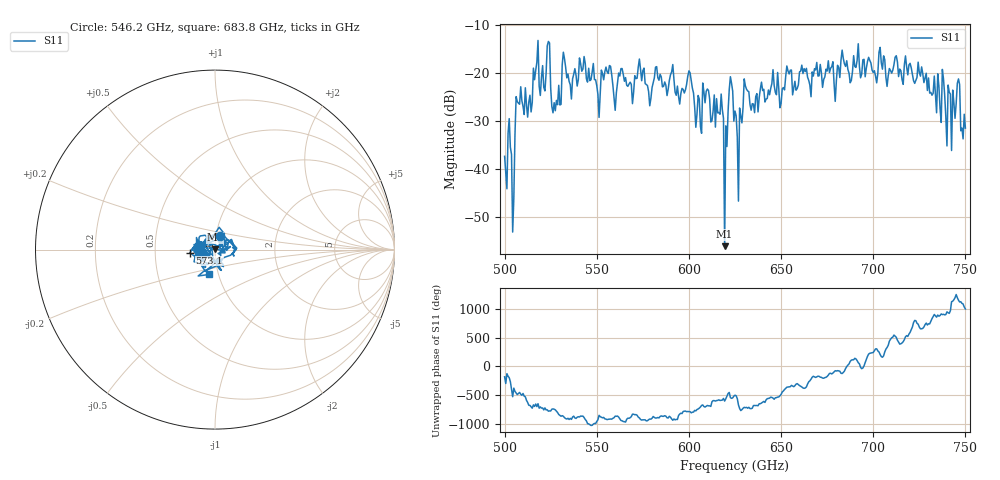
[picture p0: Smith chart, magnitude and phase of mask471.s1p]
!Created with skrf (http://scikit-rf.org).
# GHz S MA R 50.0
!freq magS11 angS11
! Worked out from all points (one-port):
!   401 points, 500 GHz to 750 GHz, reference 50 ohm
!   lowest |S11| = -56.1 dB at 619.4 GHz (marker M1), VSWR 1.00, Z = 49.9 + j0.136 ohm
!   |S11| at or under -10 dB: start of sweep to end of sweep
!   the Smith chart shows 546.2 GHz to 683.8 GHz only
!   S11 on the Smith chart (normalised r, x): 546.2 GHz: 1.05, +0.17; 573.1 GHz: 0.75, -0.03; 683.8 GHz: 0.90, -0.25
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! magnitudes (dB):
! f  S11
! 500 GHz  -37.3
! 502.5 GHz  -29.5
! 504.4 GHz  -53.1
! 507.5 GHz  -26.2
! 513.8 GHz  -24.6
! 516.9 GHz  -19.4
! 520.6 GHz  -18.4
! 523.8 GHz  -13.4
! 526.9 GHz  -26.1
! 531.2 GHz  -18.3
! 546.2 GHz  -21.5
! 562.5 GHz  -20.6
! 573.1 GHz  -17.0
! 593.8 GHz  -22.7
! 600 GHz  -19.5
! 616.2 GHz  -28.2
! 619.4 GHz  -56.1
! 622.5 GHz  -20.7
! 625 GHz  -27.9
! 627.5 GHz  -27.3
! 631.2 GHz  -23.3
! 656.2 GHz  -24.5
! 683.8 GHz  -16.9
! 687.5 GHz  -22.0
! 718.8 GHz  -20.3
! 741.2 GHz  -24.0
! 745.6 GHz  -22.1
! 750 GHz  -31.5
